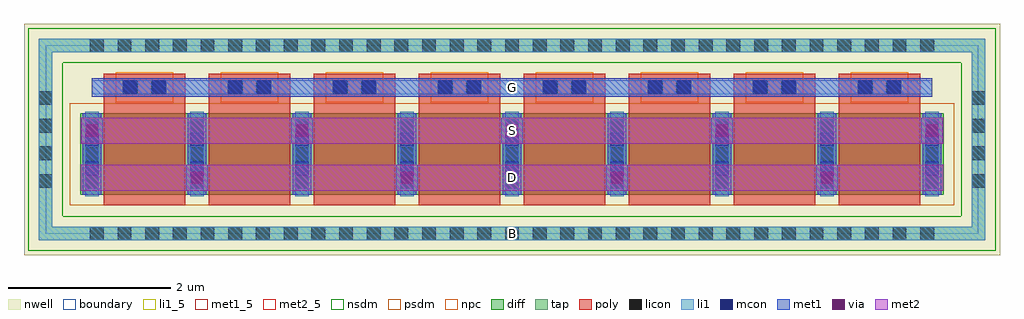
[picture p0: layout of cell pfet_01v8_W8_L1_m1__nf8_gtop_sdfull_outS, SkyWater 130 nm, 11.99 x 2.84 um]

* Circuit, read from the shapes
.subckt pfet_01v8_W8_L1_m1__nf8_gtop_sdfull_outS B D G S
XM1 D G S B sky130_fd_pr__pfet_01v8 w=1 l=1 m=8
.ends

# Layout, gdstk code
import gdstk
lib = gdstk.Library(unit=1e-6, precision=1e-09)
def R(c, l, rs):  # rectangles x0, y0, x1, y1
    for r in rs: c.add(gdstk.rectangle(r[:2], r[2:], *l))
def A(c, l, x, y, w, h, nx, ny, dx, dy):  # array of equal rectangles
    R(c, l, [(x+i*dx, y+j*dy, x+i*dx+w, y+j*dy+h) for i in range(nx) for j in range(ny)])
nwell = (64, 20)
diff = (65, 20)
tap = (65, 44)
poly = (66, 20)
licon = (66, 44)
li1_5 = (67, 5)
li1 = (67, 20)
mcon = (67, 44)
met1_5 = (68, 5)
met1 = (68, 20)
via = (68, 44)
met2_5 = (69, 5)
met2 = (69, 20)
nsdm = (93, 44)
psdm = (94, 20)
npc = (95, 20)
boundary = (235, 4)

sky130_fd_pr__pfet_01v8_ = lib.new_cell('sky130_fd_pr__pfet_01v8_LUY32Y')
R(sky130_fd_pr__pfet_01v8_, nwell, [(-5.995,-1.42,5.995,1.42)])
R(sky130_fd_pr__pfet_01v8_, diff, [(-5.305,-0.68,5.305,0.32)])
R(sky130_fd_pr__pfet_01v8_, tap, [(-5.815,-1.24,5.815,-1.07), (-5.815,-1.07,-5.645,1.07), (5.645,-1.07,5.815,1.07), (-5.815,1.07,5.815,1.24)])
A(sky130_fd_pr__pfet_01v8_, poly, -5.015, -0.81, 1, 1.615, 8, 1, 1.29, 0)
A(sky130_fd_pr__pfet_01v8_, licon, -5.185, -1.24, 0.17, 0.17, 31, 2, 0.34, 2.31)
A(sky130_fd_pr__pfet_01v8_, licon, -5.245, -0.605, 0.17, 0.17, 9, 3, 1.29, 0.34)
A(sky130_fd_pr__pfet_01v8_, licon, -5.815, -0.595, 0.17, 0.17, 1, 4, 0, 0.34)
A(sky130_fd_pr__pfet_01v8_, licon, 5.645, -0.595, 0.17, 0.17, 1, 4, 0, 0.34)
R(sky130_fd_pr__pfet_01v8_, licon, [(-4.77,0.555,-4.6,0.725), (-4.43,0.555,-4.26,0.725), (-3.48,0.555,-3.31,0.725), (-3.14,0.555,-2.97,0.725), (-2.19,0.555,-2.02,0.725), (-1.85,0.555,-1.68,0.725), (-0.9,0.555,-0.73,0.725), (-0.56,0.555,-0.39,0.725), (0.39,0.555,0.56,0.725), (0.73,0.555,0.9,0.725), (1.68,0.555,1.85,0.725), (2.02,0.555,2.19,0.725), (2.97,0.555,3.14,0.725), (3.31,0.555,3.48,0.725), (4.26,0.555,4.43,0.725), (4.6,0.555,4.77,0.725)])
A(sky130_fd_pr__pfet_01v8_, li1, -5.245, -0.7, 0.17, 1.04, 9, 1, 1.29, 0)
R(sky130_fd_pr__pfet_01v8_, li1, [(-5.815,-1.24,5.815,-1.07), (-5.815,-1.07,-5.645,1.07), (5.645,-1.07,5.815,1.07), (-5.16,0.555,5.16,0.725), (-5.815,1.07,5.815,1.24)])
A(sky130_fd_pr__pfet_01v8_, mcon, -5.245, -0.445, 0.17, 0.17, 9, 2, 1.29, 0.36)
R(sky130_fd_pr__pfet_01v8_, mcon, [(-4.78,0.555,-4.61,0.725), (-4.42,0.555,-4.25,0.725), (-3.49,0.555,-3.32,0.725), (-3.13,0.555,-2.96,0.725), (-2.2,0.555,-2.03,0.725), (-1.84,0.555,-1.67,0.725), (-0.91,0.555,-0.74,0.725), (-0.55,0.555,-0.38,0.725), (0.38,0.555,0.55,0.725), (0.74,0.555,0.91,0.725), (1.67,0.555,1.84,0.725), (2.03,0.555,2.2,0.725), (2.96,0.555,3.13,0.725), (3.32,0.555,3.49,0.725), (4.25,0.555,4.42,0.725), (4.61,0.555,4.78,0.725)])
A(sky130_fd_pr__pfet_01v8_, met1, -5.275, -0.68, 0.23, 1, 9, 1, 1.29, 0)
A(sky130_fd_pr__pfet_01v8_, met1, -4.995, 0.525, 0.96, 0.03, 8, 2, 1.29, 0.2)
R(sky130_fd_pr__pfet_01v8_, met1, [(-5.16,0.555,5.16,0.725)])
R(sky130_fd_pr__pfet_01v8_, nsdm, [(-5.94,-1.365,5.94,-0.945), (-5.94,-0.945,-5.52,0.945), (5.52,-0.945,5.94,0.945), (-5.94,0.945,5.94,1.365)])
R(sky130_fd_pr__pfet_01v8_, psdm, [(-5.43,-0.805,5.43,0.445)])
A(sky130_fd_pr__pfet_01v8_, npc, -4.87, 0.455, 0.71, 0.37, 8, 1, 1.29, 0)
R(sky130_fd_pr__pfet_01v8_, boundary, [(-5.73,-1.155,5.73,1.155)])
sky130_fd_pr__pfet_01v8_.add(gdstk.Label('B', (0,-1.155), layer=67, texttype=5))
sky130_fd_pr__pfet_01v8_.add(gdstk.Label('D0', (-5.16,-0.18), layer=67, texttype=5))
sky130_fd_pr__pfet_01v8_.add(gdstk.Label('G', (4.515,0.64), layer=67, texttype=5))
sky130_fd_pr__pfet_01v8_.add(gdstk.Label('G', (3.225,0.64), layer=67, texttype=5))
sky130_fd_pr__pfet_01v8_.add(gdstk.Label('G', (1.935,0.64), layer=67, texttype=5))
sky130_fd_pr__pfet_01v8_.add(gdstk.Label('G', (0.645,0.64), layer=67, texttype=5))
sky130_fd_pr__pfet_01v8_.add(gdstk.Label('G', (-0.645,0.64), layer=67, texttype=5))
sky130_fd_pr__pfet_01v8_.add(gdstk.Label('G', (-1.935,0.64), layer=67, texttype=5))
sky130_fd_pr__pfet_01v8_.add(gdstk.Label('G', (-3.225,0.64), layer=67, texttype=5))
sky130_fd_pr__pfet_01v8_.add(gdstk.Label('G', (-4.515,0.64), layer=67, texttype=5))
sky130_fd_pr__pfet_01v8_.add(gdstk.Label('S1', (-3.87,-0.18), layer=67, texttype=5))
sky130_fd_pr__pfet_01v8_.add(gdstk.Label('D2', (-2.58,-0.18), layer=67, texttype=5))
sky130_fd_pr__pfet_01v8_.add(gdstk.Label('S3', (-1.29,-0.18), layer=67, texttype=5))
sky130_fd_pr__pfet_01v8_.add(gdstk.Label('D4', (0,-0.18), layer=67, texttype=5))
sky130_fd_pr__pfet_01v8_.add(gdstk.Label('S5', (1.29,-0.18), layer=67, texttype=5))
sky130_fd_pr__pfet_01v8_.add(gdstk.Label('D6', (2.58,-0.18), layer=67, texttype=5))
sky130_fd_pr__pfet_01v8_.add(gdstk.Label('S7', (3.87,-0.18), layer=67, texttype=5))

pfet_01v8_w8_l1_m1__nf8_ = lib.new_cell('pfet_01v8_W8_L1_m1__nf8_gtop_sdfull_outS')
R(pfet_01v8_w8_l1_m1__nf8_, li1_5, [(5.645,-0.085,5.815,0.085)])
R(pfet_01v8_w8_l1_m1__nf8_, li1, [(5.645,-0.085,5.815,0.085)])
R(pfet_01v8_w8_l1_m1__nf8_, met1_5, [(0.57,1.68,10.89,1.91)])
A(pfet_01v8_w8_l1_m1__nf8_, met1, 1.73, 0.525, 0.26, 0.32, 4, 1, 2.58, 0)
A(pfet_01v8_w8_l1_m1__nf8_, met1, 0.44, 1.105, 0.26, 0.32, 5, 1, 2.58, 0)
R(pfet_01v8_w8_l1_m1__nf8_, met1, [(0.57,1.68,10.89,1.91)])
A(pfet_01v8_w8_l1_m1__nf8_, via, 1.785, 0.61, 0.15, 0.15, 4, 1, 2.58, 0)
A(pfet_01v8_w8_l1_m1__nf8_, via, 0.495, 1.19, 0.15, 0.15, 5, 1, 2.58, 0)
R(pfet_01v8_w8_l1_m1__nf8_, met2_5, [(0.435,0.525,11.025,0.845), (0.435,1.105,11.025,1.425)])
R(pfet_01v8_w8_l1_m1__nf8_, met2, [(0.435,0.525,11.025,0.845), (0.435,1.105,11.025,1.425)])
pfet_01v8_w8_l1_m1__nf8_.add(gdstk.Reference(sky130_fd_pr__pfet_01v8_, (5.73,1.155)))
pfet_01v8_w8_l1_m1__nf8_.add(gdstk.Label('S', (5.73,1.265), layer=69, texttype=5))
pfet_01v8_w8_l1_m1__nf8_.add(gdstk.Label('D', (5.73,0.685), layer=69, texttype=5))
pfet_01v8_w8_l1_m1__nf8_.add(gdstk.Label('G', (5.73,1.795), layer=68, texttype=5))
pfet_01v8_w8_l1_m1__nf8_.add(gdstk.Label('B', (5.73,0), layer=67, texttype=5))

lib.write_gds('pfet_01v8_W8_L1_m1__nf8_gtop_sdfull_outS.gds')
